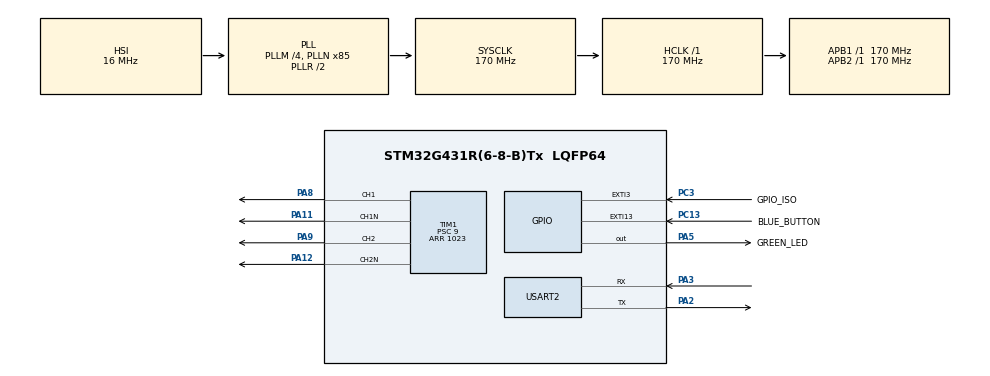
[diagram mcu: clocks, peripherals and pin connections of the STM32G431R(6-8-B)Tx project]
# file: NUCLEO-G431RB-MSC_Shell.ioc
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Mcu.Family=STM32G4
Mcu.Name=STM32G431R(6-8-B)Tx
Mcu.Package=LQFP64
NVIC.EXTI3_IRQn=true\:0\:0\:false\:false\:true\:true\:true\:true
NVIC.PriorityGroup=NVIC_PRIORITYGROUP_4
NVIC.TIM6_DAC_IRQn=true\:15\:0\:false\:false\:true\:false\:true\:true
NVIC.TimeBase=TIM6_DAC_IRQn
NVIC.TimeBaseIP=TIM6
NVIC.USART2_IRQn=true\:0\:0\:false\:false\:true\:true\:true\:true
PA11.Mode=PWM Generation1 CH1 CH1N
PA11.Signal=TIM1_CH1N
PA12.Mode=PWM Generation2 CH2 CH2N
PA12.Signal=TIM1_CH2N
PA13.GPIO_Label=T_SWDIO
PA13.Mode=Serial_Wire
PA13.Signal=SYS_JTMS-SWDIO
PA14.GPIO_Label=T_SWCLK
PA14.Mode=Serial_Wire
PA14.Signal=SYS_JTCK-SWCLK
PA2.Mode=Asynchronous
PA2.Signal=USART2_TX
PA3.Mode=Asynchronous
PA3.Signal=USART2_RX
PA5.GPIO_Label=GREEN_LED
PA5.Signal=GPIO_Output
PA8.Signal=S_TIM1_CH1
PA9.Signal=S_TIM1_CH2
PC13.GPIO_Label=BLUE_BUTTON
PC13.Signal=GPXTI13
PC14-OSC32_IN.Mode=LSE-External-Oscillator
PC14-OSC32_IN.Signal=RCC_OSC32_IN
PC15-OSC32_OUT.Mode=LSE-External-Oscillator
PC15-OSC32_OUT.Signal=RCC_OSC32_OUT
PC3.GPIO_Label=GPIO_ISO
PC3.Signal=GPXTI3
PF0-OSC_IN.Mode=HSE-External-Oscillator
PF0-OSC_IN.Signal=RCC_OSC_IN
PF1-OSC_OUT.Mode=HSE-External-Oscillator
PF1-OSC_OUT.Signal=RCC_OSC_OUT
ProjectManager.HeapSize=0x200
ProjectManager.StackSize=0x400
ProjectManager.TargetToolchain=STM32CubeIDE
RCC.ADC12Freq_Value=170000000
RCC.AHBFreq_Value=170000000
RCC.APB1Freq_Value=170000000
RCC.APB1TimFreq_Value=170000000
RCC.APB2Freq_Value=170000000
RCC.APB2TimFreq_Value=170000000
RCC.CortexFreq_Value=170000000
RCC.EXTERNAL_CLOCK_VALUE=12288000
RCC.HCLKFreq_Value=170000000
RCC.HSE_VALUE=24000000
RCC.HSI48_VALUE=48000000
RCC.HSI_VALUE=16000000
RCC.PLLM=RCC_PLLM_DIV4
RCC.PLLN=85
RCC.RTCClockSelection=RCC_RTCCLKSOURCE_LSE
RCC.SYSCLKFreq_VALUE=170000000
RCC.SYSCLKSource=RCC_SYSCLKSOURCE_PLLCLK
RCC.USBFreq_Value=170000000
RCC.VCOOutputFreq_Value=340000000
SH.S_TIM1_CH1.0=TIM1_CH1,PWM Generation1 CH1 CH1N
SH.S_TIM1_CH2.0=TIM1_CH2,PWM Generation2 CH2 CH2N
TIM1.Channel-PWM\ Generation1\ CH1\ CH1N=TIM_CHANNEL_1
TIM1.Channel-PWM\ Generation2\ CH2\ CH2N=TIM_CHANNEL_2
TIM1.CounterMode=TIM_COUNTERMODE_CENTERALIGNED1
TIM1.DeadTime=201
TIM1.OCIdleState_1=TIM_OCIDLESTATE_RESET
TIM1.OCNIdleState_2=TIM_OCNIDLESTATE_RESET
TIM1.PeriodNoDither=1023
TIM1.Prescaler=9
USART2.VirtualMode-Asynchronous=VM_ASYNC
VP_SYS_VS_tim6.Mode=TIM6
VP_TIM1_VS_ClockSourceINT.Mode=Internal
board=NUCLEO-G431RB

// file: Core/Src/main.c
/* USER CODE BEGIN Header */

/**
 * \file main.c
 * \brief Shell pour la commande d'un hacheur.
 * \author RUIZ Guilhem, HERBELIN Benjamin, LENOIR Adrien
 * \version 3
 * \date Dernière modification : 28 Novembre 2022
 *
 * Shell de commande pour l'alimentation d'un moteur via un hacheur à commande complétaire décalée
 *
 */

/* USER CODE END Header */
#include "main.h"
#include "tim.h"
#include "usart.h"
#include "gpio.h"

/* USER CODE BEGIN Includes */
#include <stdio.h>
#include <string.h>
#include <stdlib.h>
#include <math.h>
//////////
#include "fonctions_shell.h"
/* USER CODE END Includes */

/* USER CODE BEGIN PD */
#define UART_TX_BUFFER_SIZE 64
#define UART_RX_BUFFER_SIZE 1
#define CMD_BUFFER_SIZE 64
#define MAX_ARGS 9
// LF = line feed, saut de ligne
#define ASCII_LF 0x0A
// CR = carriage return, retour chariot
#define ASCII_CR 0x0D
// DEL = delete
#define ASCII_DEL 0x7F

// About PWMs
#define PERIODE (TIM1->ARR) + 1 //sinon mettre 1024

#define MAX_SPEED 922

/* USER CODE END PD */

/* USER CODE BEGIN PV */
const uint8_t prompt[]="user@Nucleo-STM32G431>>";
const uint8_t started[]=
		"\r\n*-----------------------------*"
		"\r\n| Welcome on Nucleo-STM32G431 |"
		"\r\n*-----------------------------*"
		"\r\n";
const uint8_t newline[]="\r\n";
////

const uint8_t helpMSG[]="Appel de la fonction d'aide\r\n";
const uint8_t pinoutMSG[]="Pinout de la carte Nucleo :\r\n";
const uint8_t powerOn[]="Power ON\r\n";
const uint8_t powerOff[]="Power OFF\r\n";

////
const uint8_t cmdNotFound[]="Command not found\r\n";
uint32_t uartRxReceived;
uint8_t uartRxBuffer[UART_RX_BUFFER_SIZE];
uint8_t uartTxBuffer[UART_TX_BUFFER_SIZE];

// About PWMs
//float alpha = 0.6;
//uint8_t periode = 1024;

/* USER CODE END PV */

void SystemClock_Config(void);

int main(void)
{
	/* USER CODE BEGIN 1 */
	char	 	cmdBuffer[CMD_BUFFER_SIZE];
	int 		idx_cmd = 0;
	char* 		argv[MAX_ARGS];
	int		 	argc = 0;
	char*		token;
	int 		newCmdReady = 0;

	//le rapport cyclique est initialement à 60%
	int rapport_cyclique = 614;
	/* USER CODE END 1 */

	/* MCU Configuration--------------------------------------------------------*/

	/* Reset of all peripherals, Initializes the Flash interface and the Systick. */
	HAL_Init();

	/* Configure the system clock */
	SystemClock_Config();

	/* Initialize all configured peripherals */
	MX_GPIO_Init();
	MX_USART2_UART_Init();
	MX_TIM1_Init();
	/* USER CODE BEGIN 2 */
	memset(argv,NULL,MAX_ARGS*sizeof(char*));
	memset(cmdBuffer,NULL,CMD_BUFFER_SIZE*sizeof(char));
	memset(uartRxBuffer,NULL,UART_RX_BUFFER_SIZE*sizeof(char));
	memset(uartTxBuffer,NULL,UART_TX_BUFFER_SIZE*sizeof(char));

	HAL_TIM_PWM_Start(&htim1, TIM_CHANNEL_1);
	HAL_TIMEx_PWMN_Start(&htim1, TIM_CHANNEL_1);

	HAL_TIM_PWM_Start(&htim1, TIM_CHANNEL_2);
	HAL_TIMEx_PWMN_Start(&htim1, TIM_CHANNEL_2);

	// Equivalences:
	// CH1 : PA8 : T1 : Signal Jaune
	// CH2 : PA9 : T4 : Signal Vert (En symbiose avec T1, a décaler de T/2)
	// CH1N : PA11 : T2 (Opposition à T1 sinon court-circuit) : Signal Bleu
	// CH2N : PA12 : T3 (Opposition à T4 sinon court-circuit) : Signal Magenta

	// Affichage d'accueil du prompt
	HAL_UART_Receive_IT(&huart2, uartRxBuffer, UART_RX_BUFFER_SIZE);
	HAL_Delay(10);
	HAL_UART_Transmit(&huart2, started, sizeof(started), HAL_MAX_DELAY);
	HAL_UART_Transmit(&huart2, prompt, sizeof(prompt), HAL_MAX_DELAY);
	/* USER CODE END 2 */

	/* Infinite loop */
	/* USER CODE BEGIN WHILE */
	while (1)
	{
		// uartRxReceived is set to 1 when a new character is received on uart 1
		if(uartRxReceived){
			switch(uartRxBuffer[0]){
			// Nouvelle ligne, instruction à traiter
			case ASCII_CR: // Enter pressed
				HAL_UART_Transmit(&huart2, newline, sizeof(newline), HAL_MAX_DELAY);
				cmdBuffer[idx_cmd] = '\0';
				idx_cmd++;
				argc = 0;
				token = strtok(cmdBuffer, " ");
				while(token!=NULL){
					argv[argc] = token;
					argc++;
					token = strtok(NULL, " ");
				}

				idx_cmd = 0;
				newCmdReady = 1;
				break;
				// Suppression du dernier caractère
			case ASCII_DEL:
				cmdBuffer[idx_cmd] = '\0';
				idx_cmd--;
				HAL_UART_Transmit(&huart2, uartRxBuffer, UART_RX_BUFFER_SIZE, HAL_MAX_DELAY);
				break;
				// Nouveau caractère
			default:
				cmdBuffer[idx_cmd] = uartRxBuffer[0];
				idx_cmd++;
				HAL_UART_Transmit(&huart2, uartRxBuffer, UART_RX_BUFFER_SIZE, HAL_MAX_DELAY);
			}
			uartRxReceived = 0;
		}

		if(newCmdReady){ ////////////////////////////////////////////////////

			if(strcmp(argv[0],"help")==0){
				HAL_UART_Transmit(&huart2, helpMSG, 32, HAL_MAX_DELAY);
				help();
			}
			else if(strcmp(argv[0], "pinout")==0)
			{
				HAL_UART_Transmit(&huart2, pinoutMSG, 32, HAL_MAX_DELAY);
				pinout();
			}
			else if(strcmp(argv[0], "start")==0)
			{
				HAL_UART_Transmit(&huart2, powerOn, 32, HAL_MAX_DELAY);
				start();
			}
			else if(strcmp(argv[0], "stop")==0)
			{
				HAL_UART_Transmit(&huart2, powerOff, 32, HAL_MAX_DELAY);
				// Appel de la fonction "stop"
				stop();
			}
			else if((argv[0][0] == 's') && (argv[0][1] == 'p') && (argv[0][2] == 'e') && (argv[0][3] == 'e') && (argv[0][4] == 'd') && (argv[0][5] == '='))
			{
				//on s'attend à recevoir un commmande de la forme speed = xxxx (où xxxx est un nombre compris entre 0 et 1024)
				int value = 0;

				for(int i = 1; i < 5; i++)
				{
					value+= ((int)pow(10, (4-i))) * atoi(argv[0][5+i]);
				}
				if(value > MAX_SPEED){
					value = MAX_SPEED;
					printf("Valeur maximale attendue : 1024");
				}

				// Envoi du rapport cyclique alpha tel que alpha = value/PERIODE
				alpha(rapport_cyclique, value);
				rapport_cyclique = value;
			}
			else{ // La commande n'est pas reconnue
				HAL_UART_Transmit(&huart2, cmdNotFound, sizeof(cmdNotFound), HAL_MAX_DELAY);
			}

			////////
			HAL_UART_Transmit(&huart2, prompt, sizeof(prompt), HAL_MAX_DELAY);
			newCmdReady = 0;
			////////
		}
		/* USER CODE END WHILE */

	}
}

void SystemClock_Config(void)
{
	RCC_OscInitTypeDef RCC_OscInitStruct = {0};
	RCC_ClkInitTypeDef RCC_ClkInitStruct = {0};

	/** Configure the main internal regulator output voltage
	 */
	HAL_PWREx_ControlVoltageScaling(PWR_REGULATOR_VOLTAGE_SCALE1_BOOST);

	/** Initializes the RCC Oscillators according to the specified parameters
	 * in the RCC_OscInitTypeDef structure.
	 */
	RCC_OscInitStruct.OscillatorType = RCC_OSCILLATORTYPE_HSI;
	RCC_OscInitStruct.HSIState = RCC_HSI_ON;
	RCC_OscInitStruct.HSICalibrationValue = RCC_HSICALIBRATION_DEFAULT;
	RCC_OscInitStruct.PLL.PLLState = RCC_PLL_ON;
	RCC_OscInitStruct.PLL.PLLSource = RCC_PLLSOURCE_HSI;
	RCC_OscInitStruct.PLL.PLLM = RCC_PLLM_DIV4;
	RCC_OscInitStruct.PLL.PLLN = 85;
	RCC_OscInitStruct.PLL.PLLP = RCC_PLLP_DIV2;
	RCC_OscInitStruct.PLL.PLLQ = RCC_PLLQ_DIV2;
	RCC_OscInitStruct.PLL.PLLR = RCC_PLLR_DIV2;
	if (HAL_RCC_OscConfig(&RCC_OscInitStruct) != HAL_OK)
	{
		Error_Handler();
	}

	/** Initializes the CPU, AHB and APB buses clocks
	 */
	RCC_ClkInitStruct.ClockType = RCC_CLOCKTYPE_HCLK|RCC_CLOCKTYPE_SYSCLK
			|RCC_CLOCKTYPE_PCLK1|RCC_CLOCKTYPE_PCLK2;
	RCC_ClkInitStruct.SYSCLKSource = RCC_SYSCLKSOURCE_PLLCLK;
	RCC_ClkInitStruct.AHBCLKDivider = RCC_SYSCLK_DIV1;
	RCC_ClkInitStruct.APB1CLKDivider = RCC_HCLK_DIV1;
	RCC_ClkInitStruct.APB2CLKDivider = RCC_HCLK_DIV1;

	if (HAL_RCC_ClockConfig(&RCC_ClkInitStruct, FLASH_LATENCY_4) != HAL_OK)
	{
		Error_Handler();
	}
}

/* USER CODE BEGIN 4 */
void HAL_UART_RxCpltCallback (UART_HandleTypeDef * huart){
	uartRxReceived = 1;
	HAL_UART_Receive_IT(&huart2, uartRxBuffer, UART_RX_BUFFER_SIZE);
}
/* USER CODE END 4 */

void HAL_TIM_PeriodElapsedCallback(TIM_HandleTypeDef *htim)
{
	if (htim->Instance == TIM6) {
		HAL_IncTick();
	}
}

void Error_Handler(void)
{
	__disable_irq();
	while (1)
	{
	}
}
